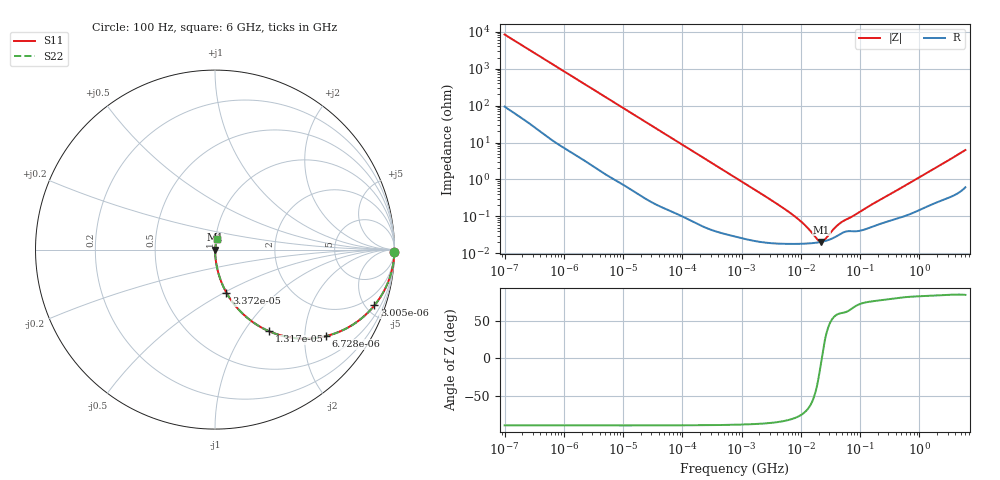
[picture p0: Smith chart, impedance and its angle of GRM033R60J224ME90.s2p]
!Murata Part Number: GRM033R60J224ME90
!These Parameters are Measured in Series Mode Connection
!Data Generated on Mar 30, 2021
!  o--ll--o
!Port1  Port2
!  o------o
!Operation Temp=25[degC], DC Bias Voltage=0[V]
!Freq. Start=100[Hz] Stop=6[GHz] 401[Steps]
# Hz S RI R 50
!Freq.(Hz) S11(Real) S11(Imag) S21(Real) S21(Imag) S12(Real) S12(Imag) S22(Real) S22(Imag)
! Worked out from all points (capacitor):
!   401 points, 100 Hz to 6 GHz, reference 50 ohm
!   read as one part in series: C = 189 nF near 109 Hz
!   lowest |Z| = 20.5 mohm at 22.26 MHz (marker M1)
!   series resonance near 22.55 MHz, so ESL is about 260 pH
!   S11 on the Smith chart (normalised r, x): 100 Hz: open; 3.005 kHz: 1.05, -5.71; 6.728 kHz: 1.02, -2.56; 13.17 kHz: 1.01, -1.31; 33.72 kHz: 1.00, -0.51; 6 GHz: 1.01, +0.13
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100  0.9997 -0.0119  0.000274 0.0119  0.000274 0.0119  0.9997 -0.0119
600  0.9945 -0.0701  0.00555 0.0701  0.00555 0.0701  0.9945 -0.0701
2008  0.9461 -0.2216  0.0539 0.2216  0.0539 0.2216  0.9461 -0.2216
3005  0.8886 -0.3105  0.1114 0.3105  0.1114 0.3105  0.8886 -0.3105
4496  0.7831 -0.4081  0.2169 0.4081  0.2169 0.4081  0.7831 -0.4081
6728  0.6198 -0.4814  0.3802 0.4814  0.3802 0.4814  0.6198 -0.4814
13169  0.3024 -0.4551  0.6976 0.4551  0.6976 0.4551  0.3024 -0.4551
20606  0.1521 -0.355  0.8479 0.355  0.8479 0.355  0.1521 -0.355
33721  0.0639 -0.2403  0.9361 0.2403  0.9361 0.2403  0.0639 -0.2403
40335  0.046 -0.205  0.954 0.205  0.954 0.205  0.046 -0.205
129199  0.00536 -0.0673  0.9946 0.0673  0.9946 0.0673  0.00536 -0.0673
774597  0.000415 -0.0114  0.9996 0.0114  0.9996 0.0114  0.000415 -0.0114
6353432  0.000182 -0.00129  0.9998 0.00129  0.9998 0.00129  0.000182 -0.00129
1.039699e7  0.000182 -0.000676  0.9998 0.000676  0.9998 0.000676  0.000182 -0.000676
1.555665e7  0.000189 -0.0003  0.9998 0.0003  0.9998 0.0003  0.000189 -0.0003
1.946e7  0.000197 -0.000117  0.9998 0.000117  0.9998 0.000117  0.000197 -0.000117
2.225763e7  0.000205 -1.02e-05  0.9998 1.02e-05  0.9998 1.02e-05  0.000205 -1.02e-05
2.545746e7  0.000215 9.57e-05  0.9998 -9.57e-05  0.9998 -9.57e-05  0.000215 9.57e-05
3.64232e7  0.000267 0.000383  0.9997 -0.000383  0.9997 -0.000383  0.000267 0.000383
4.764863e7  0.000342 0.000593  0.9997 -0.000593  0.9997 -0.000593  0.000342 0.000593
3.124326e8  0.000768 0.00382  0.9992 -0.00382  0.9992 -0.00382  0.000768 0.00382
6e9  0.00993 0.0615  0.9901 -0.0615  0.9901 -0.0615  0.00993 0.0615
